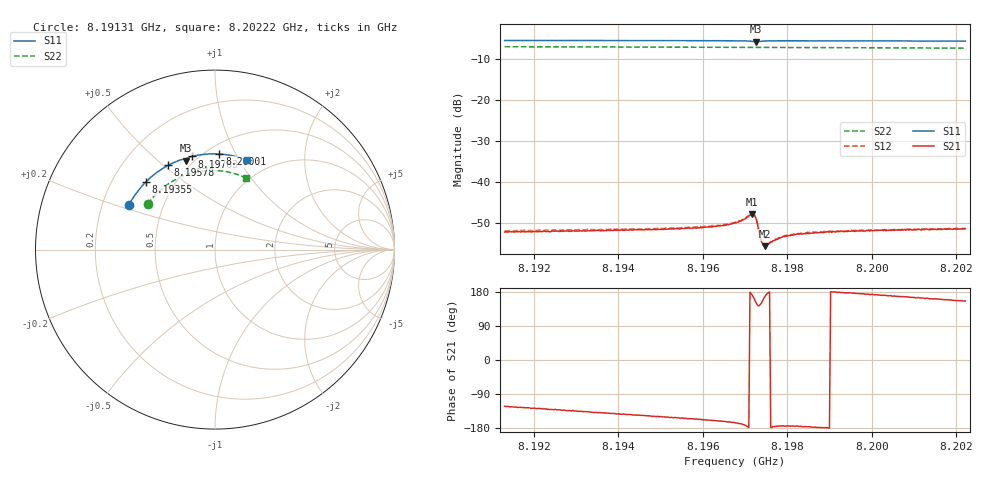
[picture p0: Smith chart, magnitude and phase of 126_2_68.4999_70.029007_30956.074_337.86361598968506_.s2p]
#  HZ  S  RI  R  50.00
! Rohde & Schwarz Vector Network Analyzer
! Rohde-Schwarz,ZNB20-2Port,1311601062101988,3.16
! Created: UTC 3/20/2024, 4:54:10 PM
! freq[Hz]  re:S11  im:S11  re:S21  im:S21  re:S12  im:S12  re:S22  im:S22
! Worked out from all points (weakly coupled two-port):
!   401 points, 8.19131 GHz to 8.20222 GHz, reference 50 ohm
!   highest |S21| = -47.92 dB at 8.19717 GHz (marker M1); lowest = -55.7 dB at 8.19747 GHz (marker M2)
!   lowest |S11| = -5.7 dB at 8.19726 GHz (marker M3), VSWR 3.18, Z = 22.8 + j31.1 ohm
!   |S11| at or under -10 dB: nowhere
!   |S22| runs from -7.2 to -6.9 dB; largest |S21 - S12| = 0.0002
!   S11 on the Smith chart (normalised r, x): 8.19131 GHz: 0.31, +0.22; 8.19355 GHz: 0.34, +0.36; 8.19578 GHz: 0.39, +0.52; 8.19783 GHz: 0.46, +0.67; 8.20001 GHz: 0.58, +0.86; 8.20222 GHz: 0.78, +1.08
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8.191311e9  -0.4795 0.2493  -0.00129 -0.00207  -0.00139 -0.00207  -0.375 0.254
8.193138e9  -0.4062 0.3547  -0.00177 -0.00176  -0.00192 -0.00178  -0.3075 0.3295
8.193547e9  -0.3865 0.3757  -0.00191 -0.00167  -0.00202 -0.00165  -0.29 0.3442
8.194965e9  -0.3099 0.4398  -0.00227 -0.00133  -0.00235 -0.00131  -0.2241 0.3878
8.195783e9  -0.2604 0.47  -0.00248 -0.00112  -0.00259 -0.00107  -0.1829 0.4075
8.196356e9  -0.2235 0.4879  -0.00272 -0.000957  -0.00282 -0.000873  -0.1528 0.4187
8.196765e9  -0.1952 0.4987  -0.00304 -0.000783  -0.00313 -0.000679  -0.1308 0.4254
8.196956e9  -0.1805 0.5026  -0.00339 -0.000589  -0.00347 -0.00046  -0.1205 0.4282
8.197174e9  -0.1622 0.5006  -0.00397 0.000629  -0.00402 0.000805  -0.1085 0.4308
8.197229e9  -0.1605 0.4973  -0.00364 0.00137  -0.00363 0.00155  -0.1055 0.4311
8.197256e9  -0.1611 0.4961  -0.00323 0.00166  -0.00317 0.00182  -0.1041 0.4315
8.197392e9  -0.1622 0.5034  -0.00161 0.00092  -0.00162 0.00094  -0.0968 0.4333
8.19742e9  -0.1606 0.5054  -0.0016 0.000684  -0.00159 0.000775  -0.0952 0.4336
8.197474e9  -0.1569 0.5086  -0.0016 0.000345  -0.00162 0.000394  -0.0921 0.4342
8.197529e9  -0.1529 0.5109  -0.00169 0.000139  -0.0017 0.000186  -0.0891 0.4347
8.197665e9  -0.1424 0.5153  -0.0019 -0.000152  -0.0019 -6.16e-05  -0.0816 0.436
8.197829e9  -0.1303 0.519  -0.00205 -0.000195  -0.00211 -0.000137  -0.0725 0.4373
8.198265e9  -0.0989 0.5258  -0.00228 -0.000197  -0.00234 -0.000109  -0.0478 0.44
8.198592e9  -0.0757 0.5294  -0.00236 -0.000126  -0.00239 -4.28e-05  -0.0294 0.441
8.20001e9  0.025 0.5327  -0.00251 0.000292  -0.00252 0.000443  0.0507 0.4364
8.200419e9  0.0537 0.5301  -0.0025 0.000463  -0.00255 0.000578  0.0737 0.4323
8.202219e9  0.1772 0.5  -0.00243 0.00111  -0.00245 0.00122  0.1708 0.4002
